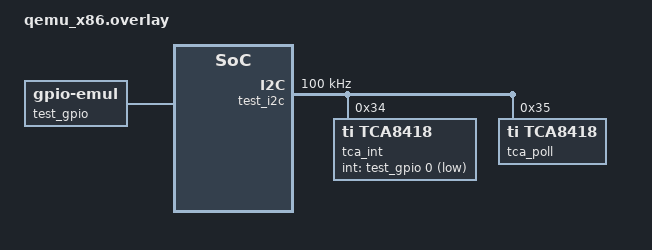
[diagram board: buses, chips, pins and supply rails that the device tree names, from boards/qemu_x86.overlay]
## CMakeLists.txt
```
# Copyright (c) 2026 FoBE Studio
# SPDX-License-Identifier: Apache-2.0

cmake_minimum_required(VERSION 3.20.0)

find_package(Zephyr REQUIRED HINTS $ENV{ZEPHYR_BASE})
project(tca8418_test)

target_sources(app PRIVATE src/main.c)
```

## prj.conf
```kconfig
# SPDX-FileCopyrightText: FoBE Studio
# SPDX-License-Identifier: Apache-2.0

CONFIG_ZTEST=y
CONFIG_ASSERT=y

CONFIG_LOG=y
CONFIG_LOG_MODE_MINIMAL=y

CONFIG_EMUL=y
CONFIG_I2C=y
CONFIG_I2C_EMUL=y
CONFIG_GPIO=y
CONFIG_GPIO_EMUL=y
CONFIG_INPUT=y
CONFIG_INPUT_MODE_SYNCHRONOUS=y
CONFIG_INPUT_TCA8418=y
CONFIG_MFD=y
CONFIG_MFD_TCA8418=y
```

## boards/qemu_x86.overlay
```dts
/*
 * Copyright (c) 2026 FoBE Studio
 *
 * SPDX-License-Identifier: Apache-2.0
 */

#include <zephyr/dt-bindings/gpio/gpio.h>
#include <zephyr/dt-bindings/input/input-event-codes.h>
#include <zephyr/dt-bindings/input/keymap.h>
#include <zephyr/dt-bindings/i2c/i2c.h>

/ {
	test_gpio: gpio {
		compatible = "zephyr,gpio-emul";
		ngpios = <1>;
		falling-edge;
		status = "okay";
		#gpio-cells = <2>;
		gpio-controller;
	};

	test_i2c: i2c@100 {
		compatible = "zephyr,i2c-emul-controller";
		clock-frequency = <I2C_BITRATE_STANDARD>;
		#address-cells = <1>;
		#size-cells = <0>;
		reg = <0x100 4>;
		status = "okay";

		tca_int: keypad@34 {
			compatible = "ti,tca8418";
			reg = <0x34>;
			int-gpios = <&test_gpio 0 GPIO_ACTIVE_LOW>;
			status = "okay";

			kbd_int: kbd {
				compatible = "ti,tca8418-kbd";
				row-size = <3>;
				col-size = <4>;
				poll-interval-ms = <5>;

				keymap {
					compatible = "input-keymap";
					keymap = <MATRIX_KEY(0, 0, INPUT_KEY_1)
						  MATRIX_KEY(0, 1, INPUT_KEY_2)
						  MATRIX_KEY(0, 2, INPUT_KEY_3)
						  MATRIX_KEY(0, 3, INPUT_KEY_KPDOT)
						  MATRIX_KEY(1, 0, INPUT_KEY_4)
						  MATRIX_KEY(1, 1, INPUT_KEY_5)
						  MATRIX_KEY(1, 2, INPUT_KEY_6)
						  MATRIX_KEY(1, 3, INPUT_KEY_0)
						  MATRIX_KEY(2, 0, INPUT_KEY_7)
						  MATRIX_KEY(2, 1, INPUT_KEY_8)
						  MATRIX_KEY(2, 2, INPUT_KEY_9)
						  MATRIX_KEY(2, 3, INPUT_KEY_KPASTERISK)>;
					row-size = <3>;
					col-size = <4>;
				};
			};
		};

		tca_poll: keypad@35 {
			compatible = "ti,tca8418";
			reg = <0x35>;
			status = "okay";

			kbd_poll: kbd {
				compatible = "ti,tca8418-kbd";
				row-size = <2>;
				col-size = <3>;
				poll-interval-ms = <10>;
			};
		};
	};
};
```

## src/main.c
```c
/*
 * Copyright (c) 2026 FoBE Studio
 *
 * SPDX-License-Identifier: Apache-2.0
 */

#include <errno.h>
#include <string.h>

#include <zephyr/device.h>
#include <zephyr/drivers/emul.h>
#include <zephyr/drivers/gpio/gpio_emul.h>
#include <zephyr/drivers/i2c_emul.h>
#include <drivers/mfd/mfd_tca8418.h>
#include <zephyr/dt-bindings/input/input-event-codes.h>
#include <zephyr/input/input.h>
#include <zephyr/kernel.h>
#include <zephyr/ztest.h>

#define TCA_INT_NODE DT_NODELABEL(tca_int)
#define TCA_POLL_NODE DT_NODELABEL(tca_poll)
#define KBD_INT_NODE DT_NODELABEL(kbd_int)
#define KBD_POLL_NODE DT_NODELABEL(kbd_poll)
#define GPIO_NODE DT_NODELABEL(test_gpio)

struct tca8418_emul_data {
	uint8_t regs[0x2f];
	uint8_t fifo[TCA8418_FIFO_SIZE];
	uint8_t fifo_len;
	uint8_t fifo_pos;
};

struct captured_input {
	const struct device *dev;
	uint8_t type;
	uint16_t code;
	int32_t value;
	bool sync;
};

static struct tca8418_emul_data tca_int_data;
static struct tca8418_emul_data tca_poll_data;
static struct captured_input captured[16];
static uint8_t captured_count;

static const struct device *const tca_int_dev = DEVICE_DT_GET(TCA_INT_NODE);
static const struct device *const tca_poll_dev = DEVICE_DT_GET(TCA_POLL_NODE);
static const struct device *const kbd_int_dev = DEVICE_DT_GET(KBD_INT_NODE);
static const struct device *const kbd_poll_dev = DEVICE_DT_GET(KBD_POLL_NODE);
static const struct device *const gpio_dev = DEVICE_DT_GET(GPIO_NODE);

static uint8_t matrix_code(uint8_t row, uint8_t col)
{
	return (row * 10U) + col + 1U;
}

static void capture_cb(struct input_event *evt, void *user_data)
{
	ARG_UNUSED(user_data);

	if (captured_count >= ARRAY_SIZE(captured)) {
		return;
	}

	captured[captured_count++] = (struct captured_input){
		.dev = evt->dev,
		.type = evt->type,
		.code = evt->code,
		.value = evt->value,
		.sync = evt->sync,
	};
}

INPUT_CALLBACK_DEFINE(NULL, capture_cb, NULL);

static void tca8418_emul_reset(struct tca8418_emul_data *data)
{
	memset(data, 0, sizeof(*data));
}

static void tca8418_emul_set_event(struct tca8418_emul_data *data, uint8_t event)
{
	data->fifo[0] = event;
	data->fifo_len = 1;
	data->fifo_pos = 0;
	data->regs[TCA8418_REG_KEY_LCK_EC] = 1;
	data->regs[TCA8418_REG_INT_STAT] = TCA8418_INT_K_INT;
}

static int tca8418_emul_read_reg(struct tca8418_emul_data *data, uint8_t reg, uint8_t *value)
{
	if (reg == TCA8418_REG_KEY_LCK_EC) {
		*value = data->fifo_len - data->fifo_pos;
		return 0;
	}

	if (reg == TCA8418_REG_KEY_EVENT_A) {
		if (data->fifo_pos >= data->fifo_len) {
			*value = 0;
			return 0;
		}
		*value = data->fifo[data->fifo_pos++];
		return 0;
	}

	if (reg >= ARRAY_SIZE(data->regs)) {
		return -EIO;
	}

	*value = data->regs[reg];
	return 0;
}

static int tca8418_emul_transfer(const struct emul *target, struct i2c_msg *msgs,
				 int num_msgs, int addr)
{
	struct tca8418_emul_data *data = target->data;
	uint8_t reg;

	ARG_UNUSED(addr);

	if (num_msgs == 2 && (msgs[0].flags & I2C_MSG_READ) == 0 &&
	    (msgs[1].flags & I2C_MSG_READ) != 0 && msgs[0].len == 1U && msgs[1].len == 1U) {
		reg = msgs[0].buf[0];
		return tca8418_emul_read_reg(data, reg, &msgs[1].buf[0]);
	}

	if (num_msgs == 1 && (msgs[0].flags & I2C_MSG_READ) == 0 && msgs[0].len == 2U) {
		reg = msgs[0].buf[0];
		if (reg >= ARRAY_SIZE(data->regs)) {
			return -EIO;
		}

		if (reg == TCA8418_REG_INT_STAT) {
			data->regs[reg] &= (uint8_t)~msgs[0].buf[1];
		} else {
			data->regs[reg] = msgs[0].buf[1];
		}
		return 0;
	}

	return -EIO;
}

static int tca8418_emul_init(const struct emul *target, const struct device *parent)
{
	ARG_UNUSED(parent);

	tca8418_emul_reset(target->data);
	return 0;
}

static const struct i2c_emul_api tca8418_emul_api = {
	.transfer = tca8418_emul_transfer,
};

EMUL_DT_DEFINE(TCA_INT_NODE, tca8418_emul_init, &tca_int_data, NULL, &tca8418_emul_api, NULL);
EMUL_DT_DEFINE(TCA_POLL_NODE, tca8418_emul_init, &tca_poll_data, NULL, &tca8418_emul_api, NULL);

static void clear_capture(void)
{
	memset(captured, 0, sizeof(captured));
	captured_count = 0;
}

static bool captured_has(const struct device *dev, uint8_t type, uint16_t code, int32_t value)
{
	for (uint8_t i = 0; i < captured_count; i++) {
		if (captured[i].dev == dev && captured[i].type == type &&
		    captured[i].code == code && captured[i].value == value) {
			return true;
		}
	}

	return false;
}

static void trigger_interrupt_event(uint8_t event)
{
	tca8418_emul_set_event(&tca_int_data, event);
	zassert_ok(gpio_emul_input_set(gpio_dev, 0, 1));
	zassert_ok(gpio_emul_input_set(gpio_dev, 0, 0));
	k_sleep(K_MSEC(10));
	zassert_ok(gpio_emul_input_set(gpio_dev, 0, 1));
}

static void *tca8418_setup(void)
{
	zassert_true(device_is_ready(tca_int_dev));
	zassert_true(device_is_ready(tca_poll_dev));
	zassert_true(device_is_ready(kbd_int_dev));
	zassert_true(device_is_ready(kbd_poll_dev));
	zassert_true(device_is_ready(gpio_dev));
	zassert_true(mfd_tca8418_has_interrupt(tca_int_dev));
	zassert_false(mfd_tca8418_has_interrupt(tca_poll_dev));
	return NULL;
}

static void tca8418_before(void *fixture)
{
	ARG_UNUSED(fixture);

	tca8418_emul_reset(&tca_int_data);
	tca8418_emul_reset(&tca_poll_data);
	clear_capture();
}

ZTEST(tca8418, test_interrupt_matrix_event_and_input_keymap)
{
	trigger_interrupt_event(TCA8418_KEY_EVENT_PRESS | matrix_code(1, 2));

	zassert_true(captured_has(kbd_int_dev, INPUT_EV_ABS, INPUT_ABS_X, 2));
	zassert_true(captured_has(kbd_int_dev, INPUT_EV_ABS, INPUT_ABS_Y, 1));
	zassert_true(captured_has(kbd_int_dev, INPUT_EV_KEY, INPUT_BTN_TOUCH, 1));
	zassert_true(captured_has(DEVICE_DT_GET(DT_CHILD(KBD_INT_NODE, keymap)),
				  INPUT_EV_KEY, INPUT_KEY_6, 1));

	trigger_interrupt_event(TCA8418_KEY_EVENT_PRESS | matrix_code(0, 3));
	zassert_true(captured_has(DEVICE_DT_GET(DT_CHILD(KBD_INT_NODE, keymap)),
				  INPUT_EV_KEY, INPUT_KEY_KPDOT, 1));

	trigger_interrupt_event(TCA8418_KEY_EVENT_PRESS | matrix_code(2, 3));
	zassert_true(captured_has(DEVICE_DT_GET(DT_CHILD(KBD_INT_NODE, keymap)),
				  INPUT_EV_KEY, INPUT_KEY_KPASTERISK, 1));
}

ZTEST(tca8418, test_out_of_range_matrix_event_is_filtered)
{
	trigger_interrupt_event(TCA8418_KEY_EVENT_PRESS | matrix_code(7, 9));

	zassert_false(captured_has(kbd_int_dev, INPUT_EV_KEY, INPUT_BTN_TOUCH, 1));
	zassert_false(captured_has(DEVICE_DT_GET(DT_CHILD(KBD_INT_NODE, keymap)),
				   INPUT_EV_KEY, INPUT_KEY_6, 1));
}

ZTEST(tca8418, test_polling_fallback_without_interrupt_gpio)
{
	tca8418_emul_set_event(&tca_poll_data, TCA8418_KEY_EVENT_PRESS | matrix_code(0, 1));
	k_sleep(K_MSEC(30));

	zassert_true(captured_has(kbd_poll_dev, INPUT_EV_ABS, INPUT_ABS_X, 1));
	zassert_true(captured_has(kbd_poll_dev, INPUT_EV_ABS, INPUT_ABS_Y, 0));
	zassert_true(captured_has(kbd_poll_dev, INPUT_EV_KEY, INPUT_BTN_TOUCH, 1));
}

ZTEST_SUITE(tca8418, NULL, tca8418_setup, tca8418_before, NULL, NULL);
```
